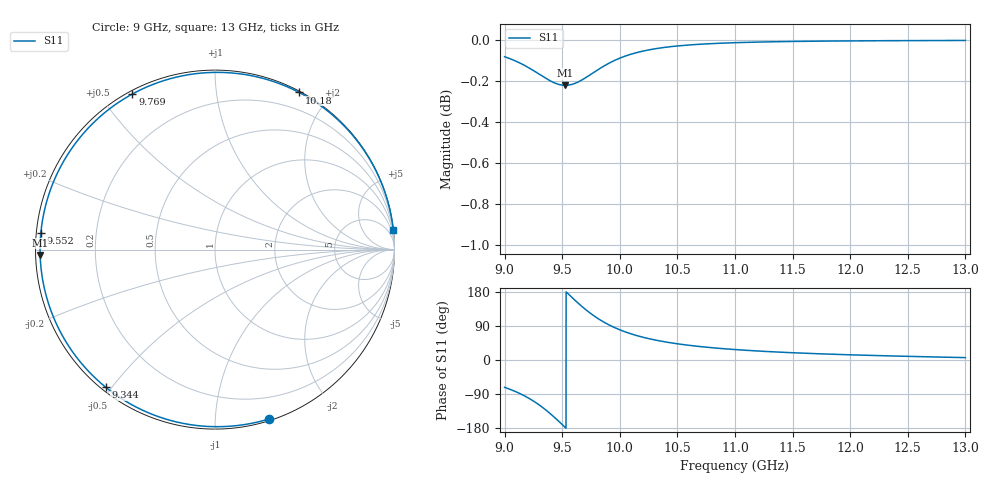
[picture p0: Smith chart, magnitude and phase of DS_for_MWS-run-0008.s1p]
! TOUCHSTONE file generated by CST DESIGN STUDIO
! Date and time: Tue Feb  4 12:35:32 2025
! Project name: C:\Work\MatlabApps\UnitCellOptimizationMatlab\CST\unitcell.cst
! Tree item: Tasks\Sweep1\SPara1\S-Parameters
! Header version: 2024
! Port assignment regex: !\s*Touchstone port\s*([0-9]+)\s*=\s*(CST MWS port|CST DES external port|CST DES block port)\s*(.+)\s* \(\"(.*)\"\)(\s*mode\s*([0-9]+))?.*
! Touchstone port assignment:
! Touchstone port 1 = CST DES external port 1 ("")
# GHz S MA R 50
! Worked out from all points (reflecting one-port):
!   4001 points, 9 GHz to 13 GHz, reference 50 ohm
!   lowest |S11| = -0.2 dB at 9.527 GHz (marker M1), VSWR 78.04, Z = 0.641 - j0.781 ohm
!   phase of S11 starts at -72 deg and turns -282 deg over the sweep
!   S11 on the Smith chart (normalised r, x): 9 GHz: 0.01, -1.37; 9.344 GHz: 0.01, -0.48; 9.552 GHz: 0.01, +0.05; 9.769 GHz: 0.01, +0.60; 10.18 GHz: 0.01, +1.67; 13 GHz: 0, +18
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9  0.9904 -72.2
9.095  0.9881 -83.3
9.202  0.9846 -99.5
9.276  0.9818 -113.5
9.344  0.979 -128.5
9.417  0.9765 -147.0
9.46  0.9754 -158.9
9.5  0.9748 -170.4
9.527  0.9747 -178.2
9.552  0.9748 174.5
9.606  0.9757 159.0
9.667  0.9775 142.3
9.718  0.9795 129.5
9.769  0.9816 117.9
9.818  0.9836 107.9
9.871  0.9856 98.3
9.93  0.9876 89.1
10  0.9896 79.7
10.085  0.9916 70.2
10.178  0.9932 61.9
10.325  0.995 51.6
10.5  0.9964 42.8
10.721  0.9975 34.7
11  0.9982 27.5
11.5  0.9989 19.2
12  0.9992 13.7
12.5  0.9994 9.6
13  0.9995 6.3
